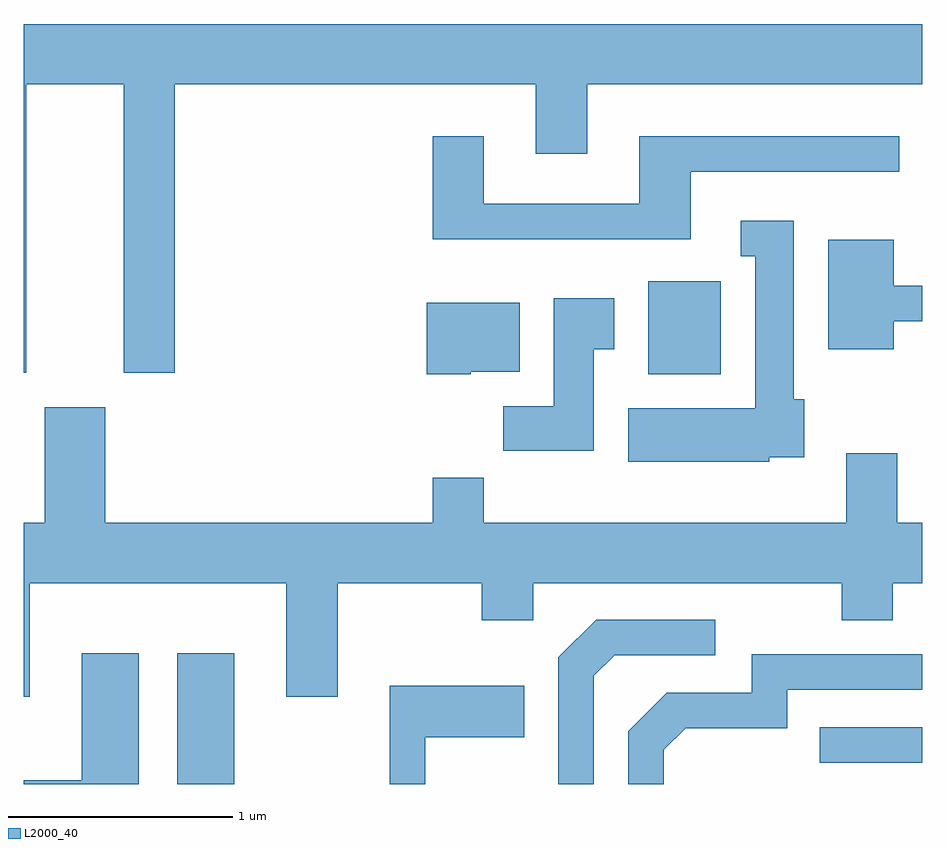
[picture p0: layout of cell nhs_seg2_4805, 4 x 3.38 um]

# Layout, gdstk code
import gdstk
lib = gdstk.Library(unit=1e-6, precision=1e-09)
def R(c, l, rs):  # rectangles x0, y0, x1, y1
    for r in rs: c.add(gdstk.rectangle(r[:2], r[2:], *l))
def P(c, l, *ps):  # polygons
    for p in ps: c.add(gdstk.Polygon(p, *l))
L2000_40 = (2000, 40)

nhs_seg2_4805 = lib.new_cell('nhs_seg2_4805')
R(nhs_seg2_4805, L2000_40, [(326.296,1111.802,326.549,1112.384), (329.153,1111.896,329.611,1112.054), (328.391,1113.626,328.714,1114.039)])
P(nhs_seg2_4805, L2000_40, [(325.624,1114.916),(326.056,1114.916),(326.056,1113.631),(326.284,1113.631),(326.284,1114.916),(327.891,1114.916),(327.891,1114.606),(328.119,1114.606),(328.119,1114.916),(329.611,1114.916),(329.611,1115.184),(325.611,1115.184),(325.611,1113.631),(325.624,1113.631)],
  [(328.579,1114.526),(329.508,1114.526),(329.508,1114.684),(328.351,1114.684),(328.351,1114.384),(327.659,1114.384),(327.659,1114.684),(327.431,1114.684),(327.431,1114.226),(328.579,1114.226)],
  [(328.929,1113.256),(329.084,1113.256),(329.084,1113.514),(329.039,1113.514),(329.039,1114.309),(328.803,1114.309),(328.803,1114.151),(328.866,1114.151),(328.866,1113.474),(328.301,1113.474),(328.301,1113.236),(328.929,1113.236)],
  [(329.484,1113.861),(329.611,1113.861),(329.611,1114.019),(329.484,1114.019),(329.484,1114.224),(329.191,1114.224),(329.191,1113.736),(329.484,1113.736)],
  [(328.149,1113.736),(328.239,1113.736),(328.239,1113.964),(327.971,1113.964),(327.971,1113.484),(327.746,1113.484),(327.746,1113.286),(328.149,1113.286)],
  [(327.6,1113.636),(327.819,1113.636),(327.819,1113.944),(327.406,1113.944),(327.406,1113.626),(327.6,1113.626)],
  [(325.639,1112.696),(326.781,1112.696),(326.781,1112.191),(327.009,1112.191),(327.009,1112.696),(327.651,1112.696),(327.651,1112.531),(327.879,1112.531),(327.879,1112.696),(329.251,1112.696),(329.251,1112.531),(329.479,1112.531),(329.479,1112.696),(329.611,1112.696),(329.611,1112.964),(329.499,1112.964),(329.499,1113.274),(329.271,1113.274),(329.271,1112.964),(327.659,1112.964),(327.659,1113.164),(327.431,1113.164),(327.431,1112.964),(325.974,1112.964),(325.974,1113.479),(325.706,1113.479),(325.706,1112.964),(325.611,1112.964),(325.611,1112.191),(325.639,1112.191)],
  [(328.149,1112.284),(328.242,1112.376),(328.688,1112.376),(328.688,1112.534),(328.159,1112.534),(327.991,1112.367),(327.991,1111.802),(328.149,1111.802)],
  [(326.124,1112.384),(325.871,1112.384),(325.871,1111.819),(325.611,1111.819),(325.611,1111.802),(326.124,1111.802)],
  [(328.459,1111.954),(328.557,1112.051),(329.009,1112.051),(329.009,1112.221),(329.611,1112.221),(329.611,1112.379),(328.851,1112.379),(328.851,1112.209),(328.474,1112.209),(328.301,1112.037),(328.301,1111.802),(328.459,1111.802)],
  [(327.399,1112.011),(327.839,1112.011),(327.839,1112.239),(327.241,1112.239),(327.241,1111.802),(327.399,1111.802)])

lib.write_gds('nhs_seg2_4805.gds')
